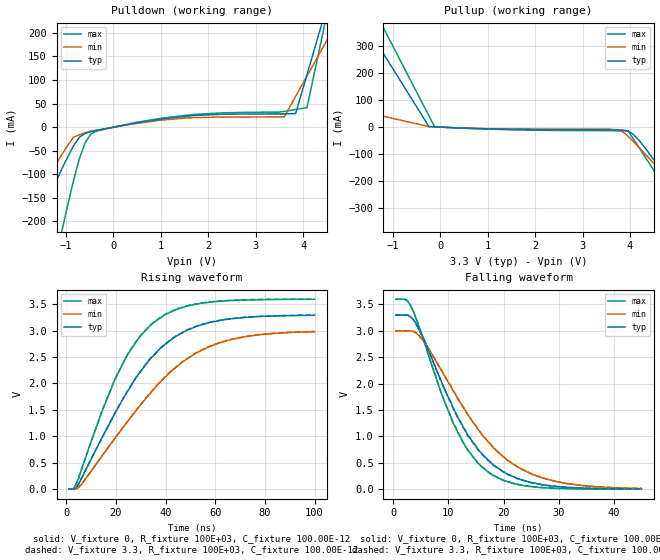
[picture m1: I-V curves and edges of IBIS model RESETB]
| IBIS file max809.ibs created at Maxim Integrated Products
[IBIS ver]   3.2
[File name]   max809.ibs
[File Rev]   1.0
[Date]   January 11, 2010
[Source]   Data was acquired from HSpice simulations.
[Notes]   This is a Microprocessor Reset Circuit.
[Disclaimer] Maxim Integrated Products hereby grants the user of this
                 IBIS model a non-exclusive, nontransferable license to use
                 this IBIS model under the following terms. Before using
                 this IBIS model, the user should read this license. If the
                 user does not accept these terms, the IBIS model should be
                 returned to Maxim Integrated Products within 30 days.
                 The user is granted this license only to use the IBIS model
                 and is not granted rights to sell, load, rent, lease or
                 license the IBIS model in whole or in part, or in modified
                 form to anyone other than user. User may modify the IBIS
                 model to suit its specific applications but rights to
                 derivative works and such modifications shall belong to
                 Maxim Integrated Products. This IBIS model is provided on
                 an "AS IS" basis and Maxim Integrated Products makes
                 absolutely no warranty with respect to the information
                 contained herein.MAXIM INTEGRATED PRODUCTS DISCLAIMS AND
                 CUSTOMER WAIVES ALL WARRANTIES, EXPRESS OR IMPLIED,
                 INCLUDING WARRANTIES OF MERCHANTABILITY OR FITNESS FOR A
                 PARTICULAR PURPOSE. The entire risk as to quality and
                 performance is with the Customer. ACCORDINGLY, IN NO EVENT
                 SHALL THE COMPANY BE LIABLE FOR ANY DAMAGES, WHETHER IN
                 CONTRACT OR TORT,INCLUDING ANY LOST PROFITS OR OTHER
                 INCIDENTAL, CONSEQUENTIAL, EXEMPLARY, OR PUNITIVE DAMAGES
                 ARISING OUT OF THE USE OR APPLICATION OF THE IBIS model
                 provided in this package.Further, Maxim Integrated Products
                 reserves the right to make changes without notice to any
                 product herein to improve reliability, function, or design.
                 Maxim Integrated Products does not convey any license under
                 patent rights or any other intellectual property rights,
                 including those of third parties.
                 Maxim Integrated Products is not obligated to provide
                 maintenance or support for the licensed IBIS model.
[Copyright]   Copyright of Maxim Integrated Products.
|   Component MAX809
[Component]   MAX809
[Manufacturer]   Maxim Integrated Products
[Package]
|variable   typ   min   max
R_pkg   53.000E-03   48.000E-03   56.000E-03
L_pkg   1.181E-09   1.059E-09   1.303E-09
C_pkg   0.292E-12   0   0.308E-12
[Pin]  signal_name   model_name   R_pin   L_pin   C_pin
1   GND   GND   NA   NA   NA
2   /RESET\   RESETB   NA   NA   NA
3   VCC   POWER   NA   NA   NA
| Models and submodels in the file (1): RESETB (Output)
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|   RESETB Output
[Model]   RESETB
|Signals   RESETB
Model_type   Output
Polarity   Inverting
Vmeas = 1.65V
C_comp   2.736E-12   2.287E-12   3.206E-12
[Temperature Range]   25   -40   125
[Voltage Range]   3.30V   3.00V   3.60V
[Pullup Reference]   3.30V   3.00V   3.60V
[Pulldown Reference]   0.00V   0.00V   0.00V
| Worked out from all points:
|   slope of the pulldown table from 0 to 0.495 V, typ, clamps not added: 53 ohm
|   slope of the pullup table from 0 to 0.495 V, typ, clamps not added: 135 ohm
|   rising waveform, V_fixture 0, R_fixture 100E+03, C_fixture 100.00E-12: 20-80 % time 26.3ns typ, 32.3ns min, 20.8ns max; typ from 0 V to 3.29 V
|   falling waveform, V_fixture 0, R_fixture 100E+03, C_fixture 100.00E-12: 20-80 % time 9.75ns typ, 12.1ns min, 8.31ns max; typ from 3.3 V to 0.002 V
|   rising waveform, V_fixture 3.3, R_fixture 100E+03, C_fixture 100.00E-12: 20-80 % time 26.2ns typ, 32.2ns min, 20.7ns max; typ from 0.002 V to 3.29 V
|   falling waveform, V_fixture 3.3, R_fixture 100E+03, C_fixture 100.00E-12: 20-80 % time 9.71ns typ, 12.1ns min, 8.32ns max; typ from 3.3 V to 0.004 V
[Pullup]
| Note that the [Pullup] voltage table is referenced to Vcc
| and is calculated using Vtable=Vcc - Vmeasured.
|V(V)   I(typ)   I(min)   I(max)
-3.6V     945.7mA    135.3mA    1.179A
-1.56V    372.8mA    54.38mA    488.7mA
-1.2V     271.7mA    40.1mA     366.8mA
-240mV    2.14mA     2.058mA    41.78mA
-120mV    1.136mA    1.117mA    1.151mA
3.72V     -10.33mA   -9.471mA   -13.45mA
3.96V     -14.7mA    -33.62mA   -13.69mA
4.56V     -134mA     -144.9mA   -175.2mA
5.04V     -250.4mA   -236.8mA   -397.9mA
5.52V     -368.3mA   -329.7mA   -625.8mA
5.76V     -427.6mA   -376.3mA   -741.4mA
7.2V      -785.5mA   -656.6mA   -1.439A
[Pulldown]
| Note that the [Pulldown] voltage table is referenced to Gnd.
|V(V)   I(typ)   I(min)   I(max)
-3.6V     -700.3mA   -531.7mA   -1.425A
-1.92V    -284.7mA   -206.8mA   -612.5mA
-1.56V    -198.2mA   -138.6mA   -441.7mA
-1.08V    -86.79mA   -56.87mA   -217.5mA
-600mV    -13.55mA   -11.94mA   -33.83mA
1.08V     18.11mA    15.44mA    19.84mA
3.6V      28.2mA     21.59mA    33.37mA
3.84V     28.58mA    64.89mA    37.32mA
4.08V     111.1mA    108.2mA    41.28mA
4.44V     234.9mA    173.1mA    211mA
4.68V     317.5mA    216.4mA    324.2mA
7.2V      1.184A     671.1mA    1.512A
[Ramp]
|variable   typ   min   max
dV/dt_r   1.98/2.638E-08   1.80/3.263E-08   2.16/2.078E-08
dV/dt_f   1.98/9.761E-09   1.80/1.222E-08   2.16/8.309E-09
R_load = 100E+03
[Rising Waveform]
V_fixture = 0
V_fixture_min = 0
V_fixture_max = 0
R_fixture = 100E+03
L_fixture = 0
C_fixture = 100.00E-12
|Time   V(typ)   V(min)   V(max)
1ns       0V         0V         664.3nV
4ns       27.23mV    141.4uV    98.01mV
15ns      1.026V     665.9mV    1.548V
24ns      1.802V     1.236V     2.488V
30ns      2.233V     1.598V     2.91V
35ns      2.523V     1.879V     3.148V
48ns      2.994V     2.445V     3.456V
62ns      3.194V     2.774V     3.558V
77ns      3.265V     2.918V     3.586V
100ns     3.291V     2.981V     3.594V
[Falling Waveform]
V_fixture = 0
V_fixture_min = 0
V_fixture_max = 0
R_fixture = 100E+03
L_fixture = 0
C_fixture = 100.00E-12
|Time   V(typ)   V(min)   V(max)
450ps     3.296V     2.996V     3.595V
2.7ns     3.293V     2.998V     3.55V
4.05ns    3.152V     2.969V     3.26V
5.85ns    2.774V     2.755V     2.717V
10.8ns    1.554V     1.875V     1.264V
13.5ns    1.024V     1.411V     740mV
17.1ns    561.4mV    908.7mV    334.9mV
20.7ns    286.9mV    548.1mV    141.8mV
27ns      84.56mV    214.5mV    29.36mV
45ns      2.427mV    12.48mV    328.2uV
[Rising Waveform]
V_fixture = 3.3
V_fixture_min = 3.0
V_fixture_max = 3.6
R_fixture = 100E+03
L_fixture = 0
C_fixture = 100.00E-12
|Time   V(typ)   V(min)   V(max)
1ns       1.632mV    1.522mV    1.755mV
4ns       29.17mV    1.814mV    100.3mV
15ns      1.031V     670.2mV    1.554V
24ns      1.809V     1.242V     2.495V
30ns      2.24V      1.606V     2.917V
35ns      2.53V      1.886V     3.155V
48ns      3V         2.452V     3.461V
62ns      3.199V     2.78V      3.563V
77ns      3.27V      2.923V     3.591V
100ns     3.295V     2.985V     3.599V
[Falling Waveform]
V_fixture = 3.3
V_fixture_min = 3.0
V_fixture_max = 3.6
R_fixture = 100E+03
L_fixture = 0
C_fixture = 100.00E-12
|Time   V(typ)   V(min)   V(max)
450ps     3.3V       3V         3.6V
2.7ns     3.296V     3.001V     3.555V
4.05ns    3.153V     2.973V     3.265V
5.85ns    2.771V     2.759V     2.722V
10.8ns    1.545V     1.88V      1.27V
13.5ns    1.016V     1.416V     744.8mV
17.1ns    554.8mV    913.2mV    338.4mV
20.7ns    283mV      551.7mV    144.3mV
27ns      83.85mV    217mV      31.32mV
45ns      3.94mV     14.08mV    2.084mV
